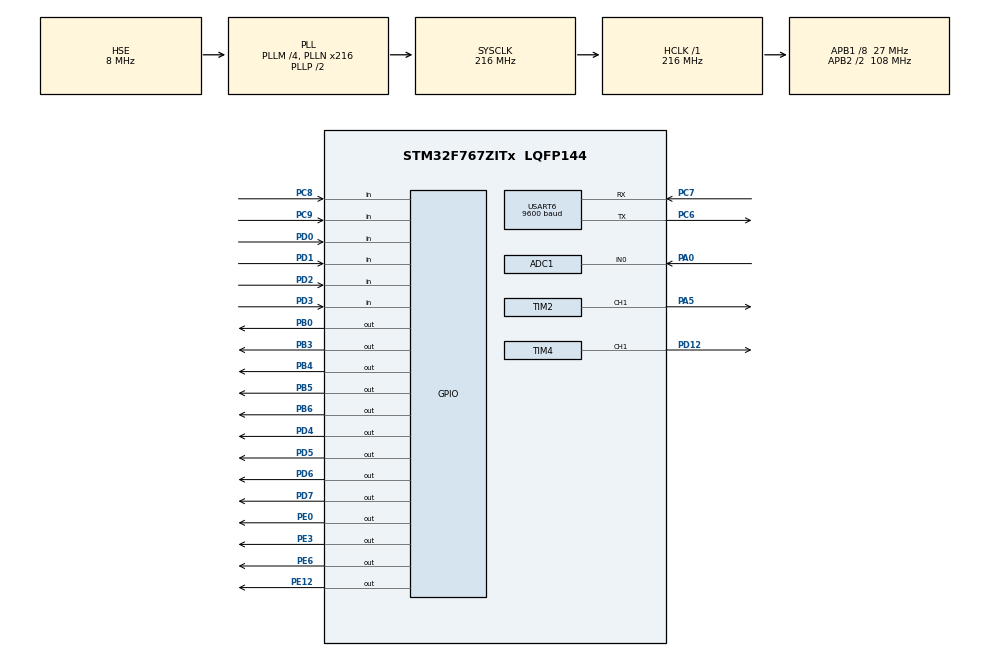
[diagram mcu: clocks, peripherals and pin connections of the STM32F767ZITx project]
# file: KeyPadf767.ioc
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ADC1.Channel-0\#ChannelRegularConversion=ADC_CHANNEL_0
ADC1.ContinuousConvMode=ENABLE
ADC1.EnableAnalogWatchDog=true
ADC1.HighThreshold=190
ADC1.ITMode=ENABLE
ADC1.NbrOfConversionFlag=1
ADC1.Rank-0\#ChannelRegularConversion=1
ADC1.SamplingTime-0\#ChannelRegularConversion=ADC_SAMPLETIME_3CYCLES
ADC1.master=1
Mcu.Family=STM32F7
Mcu.Name=STM32F767ZITx
Mcu.Package=LQFP144
NVIC.ADC_IRQn=true\:0\:0\:false\:false\:true\:true
NVIC.PriorityGroup=NVIC_PRIORITYGROUP_4
NVIC.TIM5_IRQn=true\:0\:0\:false\:false\:true\:true
PA0/WKUP.Signal=ADCx_IN0
PA5.Signal=S_TIM2_CH1_ETR
PB0.Signal=GPIO_Output
PB3.Signal=GPIO_Output
PB4.Signal=GPIO_Output
PB5.Signal=GPIO_Output
PB6.Signal=GPIO_Output
PC6.Mode=Asynchronous
PC6.Signal=USART6_TX
PC7.Mode=Asynchronous
PC7.Signal=USART6_RX
PC8.Signal=GPIO_Input
PC9.Signal=GPIO_Input
PD0.Signal=GPIO_Input
PD1.Signal=GPIO_Input
PD12.Signal=S_TIM4_CH1
PD2.Signal=GPIO_Input
PD3.Signal=GPIO_Input
PD4.Signal=GPIO_Output
PD5.Signal=GPIO_Output
PD6.Signal=GPIO_Output
PD7.Signal=GPIO_Output
PE0.Signal=GPIO_Output
PE12.Signal=GPIO_Output
PE3.Signal=GPIO_Output
PE6.Signal=GPIO_Output
PH0/OSC_IN.Mode=HSE-External-Oscillator
PH0/OSC_IN.Signal=RCC_OSC_IN
PH1/OSC_OUT.Mode=HSE-External-Oscillator
PH1/OSC_OUT.Signal=RCC_OSC_OUT
ProjectManager.HeapSize=0x200
ProjectManager.StackSize=0x400
ProjectManager.TargetToolchain=MDK-ARM V5
RCC.AHBFreq_Value=216000000
RCC.APB1CLKDivider=RCC_HCLK_DIV8
RCC.APB1Freq_Value=27000000
RCC.APB1TimFreq_Value=54000000
RCC.APB2CLKDivider=RCC_HCLK_DIV2
RCC.APB2Freq_Value=108000000
RCC.APB2TimFreq_Value=216000000
RCC.CortexFreq_Value=216000000
RCC.HCLKFreq_Value=216000000
RCC.HSE_VALUE=8000000
RCC.HSI_VALUE=16000000
RCC.LSE_VALUE=32768
RCC.PLLM=4
RCC.PLLN=216
RCC.PLLSourceVirtual=RCC_PLLSOURCE_HSE
RCC.SYSCLKFreq_VALUE=216000000
RCC.SYSCLKSource=RCC_SYSCLKSOURCE_PLLCLK
RCC.USBFreq_Value=216000000
RCC.VCOOutputFreq_Value=432000000
SH.ADCx_IN0.0=ADC1_IN0,IN0
SH.S_TIM2_CH1_ETR.0=TIM2_CH1,PWM Generation1 CH1
SH.S_TIM4_CH1.0=TIM4_CH1,PWM Generation1 CH1
TIM2.Channel-PWM\ Generation1\ CH1=TIM_CHANNEL_1
TIM2.Period=1000
TIM2.Prescaler=1080
TIM4.Channel-PWM\ Generation1\ CH1=TIM_CHANNEL_1
TIM4.Period=254
TIM4.Prescaler=829
TIM5.Period=9999
TIM5.Prescaler=7999
USART6.BaudRate=9600
USART6.VirtualMode-Asynchronous=VM_ASYNC
VP_TIM2_VS_ClockSourceINT.Mode=Internal
VP_TIM4_VS_ClockSourceINT.Mode=Internal
VP_TIM5_VS_ClockSourceINT.Mode=Internal
board=custom

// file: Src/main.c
/* USER CODE BEGIN Header */
/**
  ******************************************************************************
  * @file           : main.c
  * @brief          : Main program body
  ******************************************************************************
  ** This notice applies to any and all portions of this file
  * that are not between comment pairs USER CODE BEGIN and
  * USER CODE END. Other portions of this file, whether
  * inserted by the user or by software development tools
  * are owned by their respective copyright owners.
  *
  * COPYRIGHT(c) 2019 STMicroelectronics
  *
  * Redistribution and use in source and binary forms, with or without modification,
  * are permitted provided that the following conditions are met:
  *   1. Redistributions of source code must retain the above copyright notice,
  *      this list of conditions and the following disclaimer.
  *   2. Redistributions in binary form must reproduce the above copyright notice,
  *      this list of conditions and the following disclaimer in the documentation
  *      and/or other materials provided with the distribution.
  *   3. Neither the name of STMicroelectronics nor the names of its contributors
  *      may be used to endorse or promote products derived from this software
  *      without specific prior written permission.
  *
  * THIS SOFTWARE IS PROVIDED BY THE COPYRIGHT HOLDERS AND CONTRIBUTORS "AS IS"
  * AND ANY EXPRESS OR IMPLIED WARRANTIES, INCLUDING, BUT NOT LIMITED TO, THE
  * IMPLIED WARRANTIES OF MERCHANTABILITY AND FITNESS FOR A PARTICULAR PURPOSE ARE
  * DISCLAIMED. IN NO EVENT SHALL THE COPYRIGHT HOLDER OR CONTRIBUTORS BE LIABLE
  * FOR ANY DIRECT, INDIRECT, INCIDENTAL, SPECIAL, EXEMPLARY, OR CONSEQUENTIAL
  * DAMAGES (INCLUDING, BUT NOT LIMITED TO, PROCUREMENT OF SUBSTITUTE GOODS OR
  * SERVICES; LOSS OF USE, DATA, OR PROFITS; OR BUSINESS INTERRUPTION) HOWEVER
  * CAUSED AND ON ANY THEORY OF LIABILITY, WHETHER IN CONTRACT, STRICT LIABILITY,
  * OR TORT (INCLUDING NEGLIGENCE OR OTHERWISE) ARISING IN ANY WAY OUT OF THE USE
  * OF THIS SOFTWARE, EVEN IF ADVISED OF THE POSSIBILITY OF SUCH DAMAGE.
  *
  ******************************************************************************
  */
/* USER CODE END Header */

#include "main.h"

/* USER CODE BEGIN Includes */
#include "MY_Keypad4x4.h"
#include "STM_MY_LCD16X2.h"
/* USER CODE END Includes */

ADC_HandleTypeDef hadc1;

TIM_HandleTypeDef htim2;
TIM_HandleTypeDef htim4;
TIM_HandleTypeDef htim5;

UART_HandleTypeDef huart6;

/* USER CODE BEGIN PV */
//int a[4]={'4','5','4','5'};
// char a[4];
int a[4];
int b[4];
uint16_t c = 4545;
uint8_t ff=0;
char Flag1 =0;
uint16_t timesOTPrequested = 0;
uint16_t count=0;
uint16_t adcValue = 0;
uint16_t adcValue1 = 0;
uint16_t Flag =0;
uint16_t count1 = 0;
uint16_t Cflag=0;
uint16_t intruder=0;
uint16_t intruderFlag = 0;
uint16_t timerCounter= 0;
uint16_t pinState =0;
int z;
char rx_buffer[50],tx_buffer[50];
uint16_t INTPassword = 0;
/* USER CODE END PV */

void SystemClock_Config(void);
static void MX_GPIO_Init(void);
static void MX_ADC1_Init(void);
static void MX_TIM2_Init(void);
static void MX_TIM4_Init(void);
static void MX_USART6_UART_Init(void);
static void MX_TIM5_Init(void);

/* USER CODE BEGIN 0 */
void getNewPassword(){
INTPassword = c;
}

void ToggleLED(){
HAL_GPIO_TogglePin(GPIOB,GPIO_PIN_0);
}

void HAL_TIM_PeriodElapsedCallback(TIM_HandleTypeDef *htim)
{
	if(htim->Instance==TIM5)
	{
		if(count1<=2 && count1>=1)
		{
		//count1=0;
//		HAL_TIM_Base_Stop_IT(&htim5);
		}
	}
}

void HAL_ADC_LevelOutOfWindowCallback(ADC_HandleTypeDef* hadc){

	if (hadc->Instance==ADC1)
	{
	Flag = 1;
	count1 = count1+1;
  HAL_GPIO_WritePin(GPIOE,GPIO_PIN_6,GPIO_PIN_RESET);
	if(count1==1){
	//HAL_TIM_Base_Start_IT(&htim5);
	}
	HAL_ADC_PollForConversion(&hadc1,100);
	adcValue = HAL_ADC_GetValue(&hadc1);
	if(count1 ==3){
		if(Cflag==1){
		ToggleLED();
	}
	count1=0;
	}
	}
}

bool mySwitches[16];

void check(int b[],int a[]){
uint16_t j =0;

		for(j=0;j<=3;j++)
				{ Flag1 = 1;
					if(b[j]!=a[j])
					{
						break;
					}
				}
		if(j==4)
		{
		LCD1602_clear();
		LCD1602_setCursor(1,1);
		LCD1602_print("Correct Passcode");
		intruder=0;
		htim4.Instance->CCR1=0;
		LCD1602_setCursor(2,1);
		LCD1602_print("Access Granted!!");
		count = 0;
		Cflag = 1;
		}
		else{
			LCD1602_clear();
			LCD1602_setCursor(1,1);
			LCD1602_print("Incorrect");
			Cflag = 0;
			LCD1602_setCursor(2,1);
			LCD1602_print("Try Again!!");
			HAL_Delay(1500);
			LCD1602_clear();
			LCD1602_print("Enter Key:  ");
			LCD1602_setCursor(2,1);
			count = 0;
		}
}
/* USER CODE END 0 */

int main(void)
{
  /* USER CODE BEGIN 1 */
	Keypad_WiresTypeDef myKeypadStruct;
  /* USER CODE END 1 */

  /* MCU Configuration--------------------------------------------------------*/

  /* Reset of all peripherals, Initializes the Flash interface and the Systick. */
  HAL_Init();

  /* Configure the system clock */
  SystemClock_Config();

  /* Initialize all configured peripherals */
  MX_GPIO_Init();
  MX_ADC1_Init();
  MX_TIM2_Init();
  MX_TIM4_Init();
  MX_USART6_UART_Init();
  MX_TIM5_Init();
  /* USER CODE BEGIN 2 */
	myKeypadStruct.IN0_Port=GPIOD;
	myKeypadStruct.IN1_Port=GPIOD;
	myKeypadStruct.IN2_Port=GPIOD;
	myKeypadStruct.IN3_Port=GPIOD;

	myKeypadStruct.OUT0_Port=GPIOD;
	myKeypadStruct.OUT1_Port=GPIOD;
	myKeypadStruct.OUT2_Port=GPIOD;
	myKeypadStruct.OUT3_Port=GPIOD;

	myKeypadStruct.IN0pin=GPIO_PIN_0;
	myKeypadStruct.IN1pin=GPIO_PIN_1;
	myKeypadStruct.IN2pin=GPIO_PIN_2;
	myKeypadStruct.IN3pin=GPIO_PIN_3;

	myKeypadStruct.OUT0pin=GPIO_PIN_4;
	myKeypadStruct.OUT1pin=GPIO_PIN_5;
	myKeypadStruct.OUT2pin=GPIO_PIN_6;
	myKeypadStruct.OUT3pin=GPIO_PIN_7;

	Keypad4x4_Init(&myKeypadStruct);
	LCD1602_Begin4BIT(GPIOE, GPIO_PIN_0, GPIO_PIN_12,GPIOB,GPIO_PIN_3, GPIO_PIN_4, GPIO_PIN_5,GPIO_PIN_6);
	HAL_TIM_PWM_Start(&htim2,TIM_CHANNEL_1);
  /* USER CODE END 2 */

  /* Infinite loop */
  /* USER CODE BEGIN WHILE */
	uint16_t j;
	LCD1602_print("Enter Key:  ");
	LCD1602_setCursor(2,count+1);
	HAL_TIM_PWM_Start(&htim4,TIM_CHANNEL_1);
	while (1)
  {

		HAL_UART_Receive(&huart6,(uint8_t*)rx_buffer,50,500);
        if(rx_buffer[0]=='o'&&rx_buffer[1]=='t'&&rx_buffer[2]=='p')
        {
            getNewPassword();
            HAL_UART_Transmit(&huart6,(uint8_t*)tx_buffer,sprintf(tx_buffer,"%d",INTPassword),500);
            HAL_UART_Transmit(&huart6,(uint8_t*)tx_buffer,sprintf(tx_buffer,"\n"),500);
            rx_buffer[0] = '1';
            a[3] = INTPassword%10+48;
						a[2] = (INTPassword/10)%10+48;
						a[1] = (INTPassword/100)%10+48;
						a[0] = (INTPassword/1000)%10+48;
        }
		HAL_ADC_Start(&hadc1);
		HAL_ADC_PollForConversion(&hadc1,100);
		adcValue1 = HAL_ADC_GetValue(&hadc1);
		HAL_Delay(100);
		if(HAL_GPIO_ReadPin(GPIOB, GPIO_PIN_0))
		{
		HAL_GPIO_WritePin(GPIOE,GPIO_PIN_3,GPIO_PIN_SET);
    htim2.Instance->CCR1=25;
		}
		if(!HAL_GPIO_ReadPin(GPIOB, GPIO_PIN_0))
		{
		HAL_GPIO_WritePin(GPIOE,GPIO_PIN_3,GPIO_PIN_RESET);
		htim2.Instance->CCR1=60;
		}
		if(HAL_GPIO_ReadPin(GPIOC, GPIO_PIN_8)){
				if(Cflag==0){
			intruder=1;
				}
		}
		if(HAL_GPIO_ReadPin(GPIOC, GPIO_PIN_9)){
				if(Cflag==0){
			intruder=1;
			}
		}
		HAL_GPIO_WritePin(GPIOE,GPIO_PIN_6,GPIO_PIN_SET);

		if(intruder ==0){
		htim4.Instance->CCR1=0;
		}

		if(intruder==1){
		htim4.Instance->CCR1=200;
		}

    /* USER CODE END WHILE */

    /* USER CODE BEGIN 3 */

		//LCD1602_setCursor(2,1);
		Keypad4x4_ReadKeypad(mySwitches);
		for(uint8_t i=0; i<16;i++)
		{
			if(mySwitches[i]==true&&count<4)
			{
				if(Cflag ==1){
				z=*Keypad4x4_GetChar(i);
					if(z==42){
						NVIC_SystemReset();
					}
				}
				b[count]=*Keypad4x4_GetChar(i);
				count=count+1;
				LCD1602_print(Keypad4x4_GetChar(i));
				LCD1602_setCursor(2,count+1);
			}
		}
		if (count==4){
			check(b,a);
		}
		HAL_Delay(100);
		//LCD1602_clear();
  }
  /* USER CODE END 3 */
}

void SystemClock_Config(void)
{
  RCC_OscInitTypeDef RCC_OscInitStruct = {0};
  RCC_ClkInitTypeDef RCC_ClkInitStruct = {0};
  RCC_PeriphCLKInitTypeDef PeriphClkInitStruct = {0};

  /**Configure the main internal regulator output voltage
  */
  __HAL_RCC_PWR_CLK_ENABLE();
  __HAL_PWR_VOLTAGESCALING_CONFIG(PWR_REGULATOR_VOLTAGE_SCALE1);
  /**Initializes the CPU, AHB and APB busses clocks
  */
  RCC_OscInitStruct.OscillatorType = RCC_OSCILLATORTYPE_HSE;
  RCC_OscInitStruct.HSEState = RCC_HSE_ON;
  RCC_OscInitStruct.PLL.PLLState = RCC_PLL_ON;
  RCC_OscInitStruct.PLL.PLLSource = RCC_PLLSOURCE_HSE;
  RCC_OscInitStruct.PLL.PLLM = 4;
  RCC_OscInitStruct.PLL.PLLN = 216;
  RCC_OscInitStruct.PLL.PLLP = RCC_PLLP_DIV2;
  RCC_OscInitStruct.PLL.PLLQ = 2;
  if (HAL_RCC_OscConfig(&RCC_OscInitStruct) != HAL_OK)
  {
    Error_Handler();
  }
  /**Activate the Over-Drive mode
  */
  if (HAL_PWREx_EnableOverDrive() != HAL_OK)
  {
    Error_Handler();
  }
  /**Initializes the CPU, AHB and APB busses clocks
  */
  RCC_ClkInitStruct.ClockType = RCC_CLOCKTYPE_HCLK|RCC_CLOCKTYPE_SYSCLK
                              |RCC_CLOCKTYPE_PCLK1|RCC_CLOCKTYPE_PCLK2;
  RCC_ClkInitStruct.SYSCLKSource = RCC_SYSCLKSOURCE_PLLCLK;
  RCC_ClkInitStruct.AHBCLKDivider = RCC_SYSCLK_DIV1;
  RCC_ClkInitStruct.APB1CLKDivider = RCC_HCLK_DIV8;
  RCC_ClkInitStruct.APB2CLKDivider = RCC_HCLK_DIV2;

  if (HAL_RCC_ClockConfig(&RCC_ClkInitStruct, FLASH_LATENCY_7) != HAL_OK)
  {
    Error_Handler();
  }
  PeriphClkInitStruct.PeriphClockSelection = RCC_PERIPHCLK_USART6;
  PeriphClkInitStruct.Usart6ClockSelection = RCC_USART6CLKSOURCE_PCLK2;
  if (HAL_RCCEx_PeriphCLKConfig(&PeriphClkInitStruct) != HAL_OK)
  {
    Error_Handler();
  }
}

static void MX_ADC1_Init(void)
{

  ADC_AnalogWDGConfTypeDef AnalogWDGConfig = {0};
  ADC_ChannelConfTypeDef sConfig = {0};

  /**Configure the global features of the ADC (Clock, Resolution, Data Alignment and number of conversion)
  */
  hadc1.Instance = ADC1;
  hadc1.Init.ClockPrescaler = ADC_CLOCK_SYNC_PCLK_DIV4;
  hadc1.Init.Resolution = ADC_RESOLUTION_12B;
  hadc1.Init.ScanConvMode = ADC_SCAN_DISABLE;
  hadc1.Init.ContinuousConvMode = ENABLE;
  hadc1.Init.DiscontinuousConvMode = DISABLE;
  hadc1.Init.ExternalTrigConvEdge = ADC_EXTERNALTRIGCONVEDGE_NONE;
  hadc1.Init.ExternalTrigConv = ADC_SOFTWARE_START;
  hadc1.Init.DataAlign = ADC_DATAALIGN_RIGHT;
  hadc1.Init.NbrOfConversion = 1;
  hadc1.Init.DMAContinuousRequests = DISABLE;
  hadc1.Init.EOCSelection = ADC_EOC_SINGLE_CONV;
  if (HAL_ADC_Init(&hadc1) != HAL_OK)
  {
    Error_Handler();
  }
  /**Configure the analog watchdog
  */
  AnalogWDGConfig.WatchdogMode = ADC_ANALOGWATCHDOG_SINGLE_REG;
  AnalogWDGConfig.HighThreshold = 190;
  AnalogWDGConfig.LowThreshold = 0;
  AnalogWDGConfig.Channel = ADC_CHANNEL_0;
  AnalogWDGConfig.ITMode = ENABLE;
  if (HAL_ADC_AnalogWDGConfig(&hadc1, &AnalogWDGConfig) != HAL_OK)
  {
    Error_Handler();
  }
  /**Configure for the selected ADC regular channel its corresponding rank in the sequencer and its sample time.
  */
  sConfig.Channel = ADC_CHANNEL_0;
  sConfig.Rank = ADC_REGULAR_RANK_1;
  sConfig.SamplingTime = ADC_SAMPLETIME_3CYCLES;
  if (HAL_ADC_ConfigChannel(&hadc1, &sConfig) != HAL_OK)
  {
    Error_Handler();
  }

}

static void MX_TIM2_Init(void)
{

  TIM_ClockConfigTypeDef sClockSourceConfig = {0};
  TIM_MasterConfigTypeDef sMasterConfig = {0};
  TIM_OC_InitTypeDef sConfigOC = {0};

  htim2.Instance = TIM2;
  htim2.Init.Prescaler = 1080;
  htim2.Init.CounterMode = TIM_COUNTERMODE_UP;
  htim2.Init.Period = 1000;
  htim2.Init.ClockDivision = TIM_CLOCKDIVISION_DIV1;
  htim2.Init.AutoReloadPreload = TIM_AUTORELOAD_PRELOAD_DISABLE;
  if (HAL_TIM_Base_Init(&htim2) != HAL_OK)
  {
    Error_Handler();
  }
  sClockSourceConfig.ClockSource = TIM_CLOCKSOURCE_INTERNAL;
  if (HAL_TIM_ConfigClockSource(&htim2, &sClockSourceConfig) != HAL_OK)
  {
    Error_Handler();
  }
  if (HAL_TIM_PWM_Init(&htim2) != HAL_OK)
  {
    Error_Handler();
  }
  sMasterConfig.MasterOutputTrigger = TIM_TRGO_RESET;
  sMasterConfig.MasterSlaveMode = TIM_MASTERSLAVEMODE_DISABLE;
  if (HAL_TIMEx_MasterConfigSynchronization(&htim2, &sMasterConfig) != HAL_OK)
  {
    Error_Handler();
  }
  sConfigOC.OCMode = TIM_OCMODE_PWM1;
  sConfigOC.Pulse = 0;
  sConfigOC.OCPolarity = TIM_OCPOLARITY_HIGH;
  sConfigOC.OCFastMode = TIM_OCFAST_DISABLE;
  if (HAL_TIM_PWM_ConfigChannel(&htim2, &sConfigOC, TIM_CHANNEL_1) != HAL_OK)
  {
    Error_Handler();
  }
  HAL_TIM_MspPostInit(&htim2);

}

static void MX_TIM4_Init(void)
{

  TIM_ClockConfigTypeDef sClockSourceConfig = {0};
  TIM_MasterConfigTypeDef sMasterConfig = {0};
  TIM_OC_InitTypeDef sConfigOC = {0};

  htim4.Instance = TIM4;
  htim4.Init.Prescaler = 829;
  htim4.Init.CounterMode = TIM_COUNTERMODE_UP;
  htim4.Init.Period = 254;
  htim4.Init.ClockDivision = TIM_CLOCKDIVISION_DIV1;
  htim4.Init.AutoReloadPreload = TIM_AUTORELOAD_PRELOAD_DISABLE;
  if (HAL_TIM_Base_Init(&htim4) != HAL_OK)
  {
    Error_Handler();
  }
  sClockSourceConfig.ClockSource = TIM_CLOCKSOURCE_INTERNAL;
  if (HAL_TIM_ConfigClockSource(&htim4, &sClockSourceConfig) != HAL_OK)
  {
    Error_Handler();
  }
  if (HAL_TIM_PWM_Init(&htim4) != HAL_OK)
  {
    Error_Handler();
  }
  sMasterConfig.MasterOutputTrigger = TIM_TRGO_RESET;
  sMasterConfig.MasterSlaveMode = TIM_MASTERSLAVEMODE_DISABLE;
  if (HAL_TIMEx_MasterConfigSynchronization(&htim4, &sMasterConfig) != HAL_OK)
  {
    Error_Handler();
  }
  sConfigOC.OCMode = TIM_OCMODE_PWM1;
  sConfigOC.Pulse = 0;
  sConfigOC.OCPolarity = TIM_OCPOLARITY_HIGH;
  sConfigOC.OCFastMode = TIM_OCFAST_DISABLE;
  if (HAL_TIM_PWM_ConfigChannel(&htim4, &sConfigOC, TIM_CHANNEL_1) != HAL_OK)
  {
    Error_Handler();
  }
  HAL_TIM_MspPostInit(&htim4);

}

static void MX_TIM5_Init(void)
{

  TIM_ClockConfigTypeDef sClockSourceConfig = {0};
  TIM_MasterConfigTypeDef sMasterConfig = {0};

  htim5.Instance = TIM5;
  htim5.Init.Prescaler = 7999;
  htim5.Init.CounterMode = TIM_COUNTERMODE_UP;
  htim5.Init.Period = 9999;
  htim5.Init.ClockDivision = TIM_CLOCKDIVISION_DIV1;
  htim5.Init.AutoReloadPreload = TIM_AUTORELOAD_PRELOAD_DISABLE;
  if (HAL_TIM_Base_Init(&htim5) != HAL_OK)
  {
    Error_Handler();
  }
  sClockSourceConfig.ClockSource = TIM_CLOCKSOURCE_INTERNAL;
  if (HAL_TIM_ConfigClockSource(&htim5, &sClockSourceConfig) != HAL_OK)
  {
    Error_Handler();
  }
  sMasterConfig.MasterOutputTrigger = TIM_TRGO_RESET;
  sMasterConfig.MasterSlaveMode = TIM_MASTERSLAVEMODE_DISABLE;
  if (HAL_TIMEx_MasterConfigSynchronization(&htim5, &sMasterConfig) != HAL_OK)
  {
    Error_Handler();
  }

}

static void MX_USART6_UART_Init(void)
{

  huart6.Instance = USART6;
  huart6.Init.BaudRate = 9600;
  huart6.Init.WordLength = UART_WORDLENGTH_8B;
  huart6.Init.StopBits = UART_STOPBITS_1;
  huart6.Init.Parity = UART_PARITY_NONE;
  huart6.Init.Mode = UART_MODE_TX_RX;
  huart6.Init.HwFlowCtl = UART_HWCONTROL_NONE;
  huart6.Init.OverSampling = UART_OVERSAMPLING_16;
  huart6.Init.OneBitSampling = UART_ONE_BIT_SAMPLE_DISABLE;
  huart6.AdvancedInit.AdvFeatureInit = UART_ADVFEATURE_NO_INIT;
  if (HAL_UART_Init(&huart6) != HAL_OK)
  {
    Error_Handler();
  }

}

static void MX_GPIO_Init(void)
{
  GPIO_InitTypeDef GPIO_InitStruct = {0};

  /* GPIO Ports Clock Enable */
  __HAL_RCC_GPIOE_CLK_ENABLE();
  __HAL_RCC_GPIOH_CLK_ENABLE();
  __HAL_RCC_GPIOA_CLK_ENABLE();
  __HAL_RCC_GPIOB_CLK_ENABLE();
  __HAL_RCC_GPIOD_CLK_ENABLE();
  __HAL_RCC_GPIOC_CLK_ENABLE();

  /*Configure GPIO pin Output Level */
  HAL_GPIO_WritePin(GPIOE, GPIO_PIN_3|GPIO_PIN_6|GPIO_PIN_12|GPIO_PIN_0, GPIO_PIN_RESET);

  /*Configure GPIO pin Output Level */
  HAL_GPIO_WritePin(GPIOB, GPIO_PIN_0|GPIO_PIN_3|GPIO_PIN_4|GPIO_PIN_5
                          |GPIO_PIN_6, GPIO_PIN_RESET);

  /*Configure GPIO pin Output Level */
  HAL_GPIO_WritePin(GPIOD, GPIO_PIN_4|GPIO_PIN_5|GPIO_PIN_6|GPIO_PIN_7, GPIO_PIN_RESET);

  /*Configure GPIO pins : PE3 PE6 PE12 PE0 */
  GPIO_InitStruct.Pin = GPIO_PIN_3|GPIO_PIN_6|GPIO_PIN_12|GPIO_PIN_0;
  GPIO_InitStruct.Mode = GPIO_MODE_OUTPUT_PP;
  GPIO_InitStruct.Pull = GPIO_NOPULL;
  GPIO_InitStruct.Speed = GPIO_SPEED_FREQ_LOW;
  HAL_GPIO_Init(GPIOE, &GPIO_InitStruct);

  /*Configure GPIO pins : PB0 PB3 PB4 PB5
                           PB6 */
  GPIO_InitStruct.Pin = GPIO_PIN_0|GPIO_PIN_3|GPIO_PIN_4|GPIO_PIN_5
                          |GPIO_PIN_6;
  GPIO_InitStruct.Mode = GPIO_MODE_OUTPUT_PP;
  GPIO_InitStruct.Pull = GPIO_NOPULL;
  GPIO_InitStruct.Speed = GPIO_SPEED_FREQ_LOW;
  HAL_GPIO_Init(GPIOB, &GPIO_InitStruct);

  /*Configure GPIO pins : PC8 PC9 */
  GPIO_InitStruct.Pin = GPIO_PIN_8|GPIO_PIN_9;
  GPIO_InitStruct.Mode = GPIO_MODE_INPUT;
  GPIO_InitStruct.Pull = GPIO_NOPULL;
  HAL_GPIO_Init(GPIOC, &GPIO_InitStruct);

  /*Configure GPIO pins : PD0 PD1 PD2 PD3 */
  GPIO_InitStruct.Pin = GPIO_PIN_0|GPIO_PIN_1|GPIO_PIN_2|GPIO_PIN_3;
  GPIO_InitStruct.Mode = GPIO_MODE_INPUT;
  GPIO_InitStruct.Pull = GPIO_NOPULL;
  HAL_GPIO_Init(GPIOD, &GPIO_InitStruct);

  /*Configure GPIO pins : PD4 PD5 PD6 PD7 */
  GPIO_InitStruct.Pin = GPIO_PIN_4|GPIO_PIN_5|GPIO_PIN_6|GPIO_PIN_7;
  GPIO_InitStruct.Mode = GPIO_MODE_OUTPUT_PP;
  GPIO_InitStruct.Pull = GPIO_NOPULL;
  GPIO_InitStruct.Speed = GPIO_SPEED_FREQ_LOW;
  HAL_GPIO_Init(GPIOD, &GPIO_InitStruct);

}

void Error_Handler(void)
{
}

/************************ (C) COPYRIGHT STMicroelectronics *****END OF FILE****/
